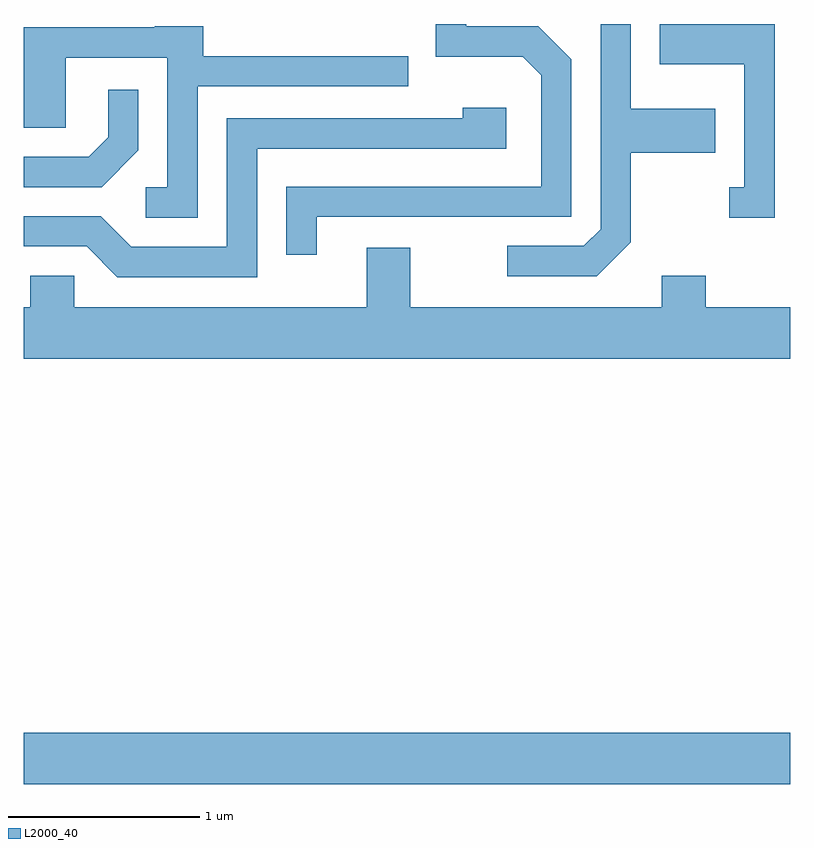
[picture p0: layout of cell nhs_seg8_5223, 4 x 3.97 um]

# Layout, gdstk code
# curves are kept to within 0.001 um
import gdstk
lib = gdstk.Library(unit=1e-6, precision=1e-09)
def R(c, l, rs):  # rectangles x0, y0, x1, y1
    for r in rs: c.add(gdstk.rectangle(r[:2], r[2:], *l))
def P(c, l, *ps):  # polygons
    for p in ps: c.add(gdstk.Polygon(p, *l))
L2000_40 = (2000, 40)

nhs_seg8_5223 = lib.new_cell('nhs_seg8_5223')
R(nhs_seg8_5223, L2000_40, [(341.611,1876.376,345.611,1876.644)])
P(nhs_seg8_5223, L2000_40, [(343.139,1879.336),(344.469,1879.336),(344.469,1880.157),(344.297,1880.329),(343.919,1880.329),(343.919,1880.342),(342.771,1880.342),(343.761,1880.341),(343.761,1880.171),(344.214,1880.171),(344.311,1880.074),(344.311,1879.494),(342.981,1879.494),(342.981,1879.138),(343.139,1879.138)],
  [(345.529,1880.342),(344.931,1880.342),(344.931,1880.131),(345.371,1880.131),(345.371,1879.489),(345.293,1879.489),(345.293,1879.331),(345.529,1879.331)],
  [(344.779,1879.204),(344.779,1879.671),(345.219,1879.671),(345.219,1879.899),(344.779,1879.899),(344.779,1880.342),(344.621,1880.342),(344.621,1879.272),(344.534,1879.184),(344.133,1879.184),(344.133,1879.026),(344.602,1879.026)],
  [(342.519,1880.016),(343.618,1880.016),(343.618,1880.174),(342.549,1880.174),(342.549,1880.329),(342.295,1880.329),(342.295,1880.324),(341.611,1880.324),(341.611,1879.801),(341.829,1879.801),(341.829,1880.166),(342.361,1880.166),(342.361,1879.489),(342.248,1879.489),(342.248,1879.331),(342.519,1879.331)],
  [(342.209,1879.684),(342.209,1879.998),(342.051,1879.998),(342.051,1879.752),(341.949,1879.649),(341.611,1879.649),(341.611,1879.491),(342.017,1879.491)],
  [(342.829,1879.691),(344.129,1879.691),(344.129,1879.904),(343.901,1879.904),(343.901,1879.849),(342.671,1879.849),(342.671,1879.179),(342.172,1879.179),(342.012,1879.339),(341.611,1879.339),(341.611,1879.181),(341.939,1879.181),(342.099,1879.021),(342.829,1879.021)],
  [(345.611,1878.864),(345.169,1878.864),(345.169,1879.029),(344.941,1879.029),(344.941,1878.864),(343.629,1878.864),(343.629,1879.174),(343.401,1879.174),(343.401,1878.864),(341.874,1878.864),(341.874,1879.029),(341.646,1879.029),(341.646,1878.864),(341.611,1878.864),(341.611,1878.596),(345.611,1878.596)])

lib.write_gds('nhs_seg8_5223.gds')
